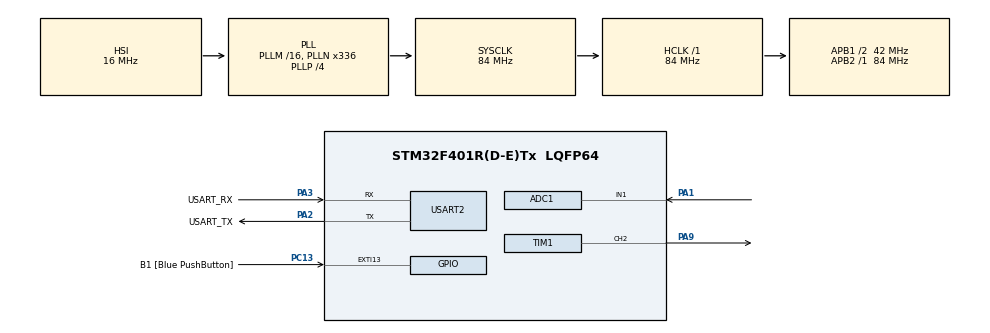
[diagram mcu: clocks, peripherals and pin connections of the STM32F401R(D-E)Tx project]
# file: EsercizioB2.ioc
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ADC1.Channel-0\#ChannelRegularConversion=ADC_CHANNEL_1
ADC1.NbrOfConversionFlag=1
ADC1.Rank-0\#ChannelRegularConversion=1
ADC1.SamplingTime-0\#ChannelRegularConversion=ADC_SAMPLETIME_480CYCLES
ADC1.master=1
Dma.Request0=USART2_TX
Dma.USART2_TX.0.Direction=DMA_MEMORY_TO_PERIPH
Dma.USART2_TX.0.FIFOMode=DMA_FIFOMODE_DISABLE
Dma.USART2_TX.0.Instance=DMA1_Stream6
Dma.USART2_TX.0.MemDataAlignment=DMA_MDATAALIGN_BYTE
Dma.USART2_TX.0.MemInc=DMA_MINC_ENABLE
Dma.USART2_TX.0.Mode=DMA_NORMAL
Dma.USART2_TX.0.PeriphDataAlignment=DMA_PDATAALIGN_BYTE
Dma.USART2_TX.0.PeriphInc=DMA_PINC_DISABLE
Dma.USART2_TX.0.Priority=DMA_PRIORITY_LOW
Mcu.Family=STM32F4
Mcu.Name=STM32F401R(D-E)Tx
Mcu.Package=LQFP64
NVIC.ADC_IRQn=true\:0\:0\:false\:false\:true\:true\:true\:true
NVIC.DMA1_Stream6_IRQn=true\:0\:0\:false\:false\:true\:false\:true\:true
NVIC.PriorityGroup=NVIC_PRIORITYGROUP_4
NVIC.TIM2_IRQn=true\:0\:0\:false\:false\:true\:true\:true\:true
NVIC.TIM3_IRQn=true\:0\:0\:false\:false\:true\:true\:true\:true
NVIC.USART2_IRQn=true\:0\:0\:false\:false\:true\:true\:true\:true
PA1.Signal=ADCx_IN1
PA13.GPIO_Label=TMS
PA13.Mode=Trace_Asynchronous_SW
PA13.Signal=SYS_JTMS-SWDIO
PA14.GPIO_Label=TCK
PA14.Mode=Trace_Asynchronous_SW
PA14.Signal=SYS_JTCK-SWCLK
PA2.GPIO_Label=USART_TX
PA2.GPIO_Mode=GPIO_MODE_AF_PP
PA2.GPIO_PuPd=GPIO_NOPULL
PA2.GPIO_Speed=GPIO_SPEED_FREQ_LOW
PA2.Mode=Asynchronous
PA2.Signal=USART2_TX
PA3.GPIO_Label=USART_RX
PA3.GPIO_Mode=GPIO_MODE_AF_PP
PA3.GPIO_PuPd=GPIO_NOPULL
PA3.GPIO_Speed=GPIO_SPEED_FREQ_LOW
PA3.Mode=Asynchronous
PA3.Signal=USART2_RX
PA9.Signal=S_TIM1_CH2
PB3.GPIO_Label=SWO
PB3.Mode=Trace_Asynchronous_SW
PB3.Signal=SYS_JTDO-SWO
PC13-ANTI_TAMP.GPIO_Label=B1 [Blue PushButton]
PC13-ANTI_TAMP.GPIO_ModeDefaultEXTI=GPIO_MODE_IT_FALLING
PC13-ANTI_TAMP.GPIO_PuPd=GPIO_NOPULL
PC13-ANTI_TAMP.Signal=GPXTI13
PC14-OSC32_IN.Mode=LSE-External-Oscillator
PC14-OSC32_IN.Signal=RCC_OSC32_IN
PC15-OSC32_OUT.Mode=LSE-External-Oscillator
PC15-OSC32_OUT.Signal=RCC_OSC32_OUT
PH0\ -\ OSC_IN.Mode=HSE-External-Clock-Source
PH0\ -\ OSC_IN.Signal=RCC_OSC_IN
PH1\ -\ OSC_OUT.Mode=HSE-External-Clock-Source
PH1\ -\ OSC_OUT.Signal=RCC_OSC_OUT
ProjectManager.HeapSize=0x200
ProjectManager.StackSize=0x400
ProjectManager.TargetToolchain=STM32CubeIDE
RCC.48MHZClocksFreq_Value=48000000
RCC.AHBFreq_Value=84000000
RCC.APB1CLKDivider=RCC_HCLK_DIV2
RCC.APB1Freq_Value=42000000
RCC.APB1TimFreq_Value=84000000
RCC.APB2Freq_Value=84000000
RCC.APB2TimFreq_Value=84000000
RCC.CortexFreq_Value=84000000
RCC.HCLKFreq_Value=84000000
RCC.HSE_VALUE=8000000
RCC.HSI_VALUE=16000000
RCC.PLLN=336
RCC.PLLP=RCC_PLLP_DIV4
RCC.PLLQ=7
RCC.SYSCLKFreq_VALUE=84000000
RCC.SYSCLKSource=RCC_SYSCLKSOURCE_PLLCLK
RCC.VCOOutputFreq_Value=336000000
SH.ADCx_IN1.0=ADC1_IN1,IN1
SH.S_TIM1_CH2.0=TIM1_CH2,PWM Generation2 CH2
TIM1.AutoReloadPreload=TIM_AUTORELOAD_PRELOAD_ENABLE
TIM1.Channel-PWM\ Generation2\ CH2=TIM_CHANNEL_2
TIM1.Period=1909
TIM1.Prescaler=99
TIM1.Pulse-PWM\ Generation2\ CH2=954
TIM2.Period=839999
TIM2.Prescaler=99
TIM3.AutoReloadPreload=TIM_AUTORELOAD_PRELOAD_ENABLE
TIM3.Period=2099
TIM3.Prescaler=9999
USART2.VirtualMode=VM_ASYNC
VP_TIM2_VS_ClockSourceINT.Mode=Internal
VP_TIM3_VS_ClockSourceINT.Mode=Internal
board=NUCLEO-F401RE

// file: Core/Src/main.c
/* USER CODE BEGIN Header */
/**
  ******************************************************************************
  * @file           : main.c
  * @brief          : Main program body
  ******************************************************************************
  * @attention
  *
  * Copyright (c) 2026 STMicroelectronics.
  * All rights reserved.
  *
  * This software is licensed under terms that can be found in the LICENSE file
  * in the root directory of this software component.
  * If no LICENSE file comes with this software, it is provided AS-IS.
  *
  ******************************************************************************
  */
/* USER CODE END Header */
#include "main.h"

/* USER CODE BEGIN Includes */
#include "stdio.h"
#include "string.h"

/* USER CODE END Includes */

/* USER CODE BEGIN PTD */
// Definiamo una struttura "Note"
typedef struct {
    int Period;
    int Duration;
} Note;
/* USER CODE END PTD */

/* USER CODE BEGIN PD */
#define PeriodFA4 2405   // F4 = 349.23 Hz
#define PeriodLA4 1909   // A4 = 440.00 Hz
#define PeriodSI4 1701   // B4 = 493.88 Hz
#define PeriodDO5 1605   // C5 = 523.25 Hz
#define PeriodRE5 1430   // D5 = 587.33 Hz
#define PeriodMI5 1274   // E5 = 659.25 Hz

#define SIZE_SONG 15
/* USER CODE END PD */

ADC_HandleTypeDef hadc1;

TIM_HandleTypeDef htim1;
TIM_HandleTypeDef htim2;
TIM_HandleTypeDef htim3;

UART_HandleTypeDef huart2;
DMA_HandleTypeDef hdma_usart2_tx;

/* USER CODE BEGIN PV */
uint32_t adc_value=0;
float voltage=0.0;
uint8_t tx_buf[32];
int len;

int i=0;
int ticks=0;
uint32_t duration_note=500; // valore a caso

Note Swan_Lake[] = {
		{PeriodMI5, 4},
		{PeriodLA4, 1},
		{PeriodSI4, 1},
		{PeriodDO5, 1},
		{PeriodRE5, 1},
		{PeriodMI5, 3},
		{PeriodDO5, 1},
		{PeriodMI5, 3},
		{PeriodDO5, 1},
		{PeriodMI5, 3},
		{PeriodLA4, 1},
		{PeriodDO5, 1},
		{PeriodLA4, 1},
		{PeriodFA4, 1},
		{PeriodDO5, 1},
		{PeriodLA4, 4}
};

/* USER CODE END PV */

void SystemClock_Config(void);
static void MX_GPIO_Init(void);
static void MX_DMA_Init(void);
static void MX_USART2_UART_Init(void);
static void MX_ADC1_Init(void);
static void MX_TIM2_Init(void);
static void MX_TIM1_Init(void);
static void MX_TIM3_Init(void);
/* USER CODE BEGIN PFP */
void play_note(uint32_t Period, uint32_t Duration);
/* USER CODE END PFP */

/* USER CODE BEGIN 0 */
void HAL_TIM_PeriodElapsedCallback(TIM_HandleTypeDef *htim)
{
	if(htim->Instance == TIM2){ // 1Hz
		len = sprintf((char*)tx_buf, "Potentiometer: %.2f V\r\n", voltage);
		HAL_UART_Transmit_DMA(&huart2, tx_buf, len);

		// Riarmare l'ADC
		HAL_ADC_Start_IT(&hadc1);

	}

	if(htim->Instance == TIM3){ // la frequenza dipende
		ticks+=1;
		if(ticks==duration_note){
			i+=1;
			if(i==sizeof(Swan_Lake)/sizeof(Swan_Lake[0])){ // Fine Canzone
				i=0;

			}
			play_note(Swan_Lake[i].Period, Swan_Lake[i].Duration);
	}
}
}

void HAL_ADC_ConvCpltCallback(ADC_HandleTypeDef *hadc)
{
    // Quando arriva l'EoC aggiorniamo il valore
	adc_value = HAL_ADC_GetValue(hadc);
	voltage = ((float)adc_value * 3.3f) / 4095.0f;

	// Velocità canzone
	float perc=(voltage/2.0) + 0.5;
	int arr=(int)(8400/(perc*4) -1);
	__HAL_TIM_SET_AUTORELOAD(&htim3, arr);
}

void play_note(uint32_t Period, uint32_t Duration){
    duration_note=Duration;
    ticks=0;

	// Aggiorna il Periodo (frequenza) nel registro del Timer
    // L'unica variabile da ri-inizializzare è quella di base (più veloce di HAL_TIM_Base_Init)
    // Usiamo una macro veloce che accede direttamente al registro
    __HAL_TIM_SET_AUTORELOAD(&htim1, Period - 1);

    // Aggiorna il Pulse (Duty Cycle)
	__HAL_TIM_SET_COMPARE(&htim1, TIM_CHANNEL_2, Period / 2);

    // Fai suonare nota
	HAL_TIM_PWM_Start(&htim1, TIM_CHANNEL_2);
}

/* USER CODE END 0 */

int main(void)
{

  /* MCU Configuration--------------------------------------------------------*/

  /* Reset of all peripherals, Initializes the Flash interface and the Systick. */
  HAL_Init();

  /* Configure the system clock */
  SystemClock_Config();

  /* Initialize all configured peripherals */
  MX_GPIO_Init();
  MX_DMA_Init();
  MX_USART2_UART_Init();
  MX_ADC1_Init();
  MX_TIM2_Init();
  MX_TIM1_Init();
  MX_TIM3_Init();
  /* USER CODE BEGIN 2 */
  play_note(Swan_Lake[i].Period, Swan_Lake[i].Duration); // Inizia a suonare la prima nota
  HAL_TIM_Base_Start_IT(&htim2);
  HAL_ADC_Start_IT(&hadc1);
  HAL_TIM_Base_Start_IT(&htim3);

  /* USER CODE END 2 */

  /* Infinite loop */
  while (1)
  {

  }
}

void SystemClock_Config(void)
{
  RCC_OscInitTypeDef RCC_OscInitStruct = {0};
  RCC_ClkInitTypeDef RCC_ClkInitStruct = {0};

  /** Configure the main internal regulator output voltage
  */
  __HAL_RCC_PWR_CLK_ENABLE();
  __HAL_PWR_VOLTAGESCALING_CONFIG(PWR_REGULATOR_VOLTAGE_SCALE2);

  /** Initializes the RCC Oscillators according to the specified parameters
  * in the RCC_OscInitTypeDef structure.
  */
  RCC_OscInitStruct.OscillatorType = RCC_OSCILLATORTYPE_HSI;
  RCC_OscInitStruct.HSIState = RCC_HSI_ON;
  RCC_OscInitStruct.HSICalibrationValue = RCC_HSICALIBRATION_DEFAULT;
  RCC_OscInitStruct.PLL.PLLState = RCC_PLL_ON;
  RCC_OscInitStruct.PLL.PLLSource = RCC_PLLSOURCE_HSI;
  RCC_OscInitStruct.PLL.PLLM = 16;
  RCC_OscInitStruct.PLL.PLLN = 336;
  RCC_OscInitStruct.PLL.PLLP = RCC_PLLP_DIV4;
  RCC_OscInitStruct.PLL.PLLQ = 7;
  if (HAL_RCC_OscConfig(&RCC_OscInitStruct) != HAL_OK)
  {
    Error_Handler();
  }

  /** Initializes the CPU, AHB and APB buses clocks
  */
  RCC_ClkInitStruct.ClockType = RCC_CLOCKTYPE_HCLK|RCC_CLOCKTYPE_SYSCLK
                              |RCC_CLOCKTYPE_PCLK1|RCC_CLOCKTYPE_PCLK2;
  RCC_ClkInitStruct.SYSCLKSource = RCC_SYSCLKSOURCE_PLLCLK;
  RCC_ClkInitStruct.AHBCLKDivider = RCC_SYSCLK_DIV1;
  RCC_ClkInitStruct.APB1CLKDivider = RCC_HCLK_DIV2;
  RCC_ClkInitStruct.APB2CLKDivider = RCC_HCLK_DIV1;

  if (HAL_RCC_ClockConfig(&RCC_ClkInitStruct, FLASH_LATENCY_2) != HAL_OK)
  {
    Error_Handler();
  }
}

static void MX_ADC1_Init(void)
{

  ADC_ChannelConfTypeDef sConfig = {0};

  /** Configure the global features of the ADC (Clock, Resolution, Data Alignment and number of conversion)
  */
  hadc1.Instance = ADC1;
  hadc1.Init.ClockPrescaler = ADC_CLOCK_SYNC_PCLK_DIV4;
  hadc1.Init.Resolution = ADC_RESOLUTION_12B;
  hadc1.Init.ScanConvMode = DISABLE;
  hadc1.Init.ContinuousConvMode = DISABLE;
  hadc1.Init.DiscontinuousConvMode = DISABLE;
  hadc1.Init.ExternalTrigConvEdge = ADC_EXTERNALTRIGCONVEDGE_NONE;
  hadc1.Init.ExternalTrigConv = ADC_SOFTWARE_START;
  hadc1.Init.DataAlign = ADC_DATAALIGN_RIGHT;
  hadc1.Init.NbrOfConversion = 1;
  hadc1.Init.DMAContinuousRequests = DISABLE;
  hadc1.Init.EOCSelection = ADC_EOC_SINGLE_CONV;
  if (HAL_ADC_Init(&hadc1) != HAL_OK)
  {
    Error_Handler();
  }

  /** Configure for the selected ADC regular channel its corresponding rank in the sequencer and its sample time.
  */
  sConfig.Channel = ADC_CHANNEL_1;
  sConfig.Rank = 1;
  sConfig.SamplingTime = ADC_SAMPLETIME_480CYCLES;
  if (HAL_ADC_ConfigChannel(&hadc1, &sConfig) != HAL_OK)
  {
    Error_Handler();
  }

}

static void MX_TIM1_Init(void)
{

  TIM_MasterConfigTypeDef sMasterConfig = {0};
  TIM_OC_InitTypeDef sConfigOC = {0};
  TIM_BreakDeadTimeConfigTypeDef sBreakDeadTimeConfig = {0};

  htim1.Instance = TIM1;
  htim1.Init.Prescaler = 99;
  htim1.Init.CounterMode = TIM_COUNTERMODE_UP;
  htim1.Init.Period = 1909;
  htim1.Init.ClockDivision = TIM_CLOCKDIVISION_DIV1;
  htim1.Init.RepetitionCounter = 0;
  htim1.Init.AutoReloadPreload = TIM_AUTORELOAD_PRELOAD_ENABLE;
  if (HAL_TIM_PWM_Init(&htim1) != HAL_OK)
  {
    Error_Handler();
  }
  sMasterConfig.MasterOutputTrigger = TIM_TRGO_RESET;
  sMasterConfig.MasterSlaveMode = TIM_MASTERSLAVEMODE_DISABLE;
  if (HAL_TIMEx_MasterConfigSynchronization(&htim1, &sMasterConfig) != HAL_OK)
  {
    Error_Handler();
  }
  sConfigOC.OCMode = TIM_OCMODE_PWM1;
  sConfigOC.Pulse = 954;
  sConfigOC.OCPolarity = TIM_OCPOLARITY_HIGH;
  sConfigOC.OCNPolarity = TIM_OCNPOLARITY_HIGH;
  sConfigOC.OCFastMode = TIM_OCFAST_DISABLE;
  sConfigOC.OCIdleState = TIM_OCIDLESTATE_RESET;
  sConfigOC.OCNIdleState = TIM_OCNIDLESTATE_RESET;
  if (HAL_TIM_PWM_ConfigChannel(&htim1, &sConfigOC, TIM_CHANNEL_2) != HAL_OK)
  {
    Error_Handler();
  }
  sBreakDeadTimeConfig.OffStateRunMode = TIM_OSSR_DISABLE;
  sBreakDeadTimeConfig.OffStateIDLEMode = TIM_OSSI_DISABLE;
  sBreakDeadTimeConfig.LockLevel = TIM_LOCKLEVEL_OFF;
  sBreakDeadTimeConfig.DeadTime = 0;
  sBreakDeadTimeConfig.BreakState = TIM_BREAK_DISABLE;
  sBreakDeadTimeConfig.BreakPolarity = TIM_BREAKPOLARITY_HIGH;
  sBreakDeadTimeConfig.AutomaticOutput = TIM_AUTOMATICOUTPUT_DISABLE;
  if (HAL_TIMEx_ConfigBreakDeadTime(&htim1, &sBreakDeadTimeConfig) != HAL_OK)
  {
    Error_Handler();
  }
  HAL_TIM_MspPostInit(&htim1);

}

static void MX_TIM2_Init(void)
{

  TIM_ClockConfigTypeDef sClockSourceConfig = {0};
  TIM_MasterConfigTypeDef sMasterConfig = {0};

  htim2.Instance = TIM2;
  htim2.Init.Prescaler = 99;
  htim2.Init.CounterMode = TIM_COUNTERMODE_UP;
  htim2.Init.Period = 839999;
  htim2.Init.ClockDivision = TIM_CLOCKDIVISION_DIV1;
  htim2.Init.AutoReloadPreload = TIM_AUTORELOAD_PRELOAD_DISABLE;
  if (HAL_TIM_Base_Init(&htim2) != HAL_OK)
  {
    Error_Handler();
  }
  sClockSourceConfig.ClockSource = TIM_CLOCKSOURCE_INTERNAL;
  if (HAL_TIM_ConfigClockSource(&htim2, &sClockSourceConfig) != HAL_OK)
  {
    Error_Handler();
  }
  sMasterConfig.MasterOutputTrigger = TIM_TRGO_RESET;
  sMasterConfig.MasterSlaveMode = TIM_MASTERSLAVEMODE_DISABLE;
  if (HAL_TIMEx_MasterConfigSynchronization(&htim2, &sMasterConfig) != HAL_OK)
  {
    Error_Handler();
  }

}

static void MX_TIM3_Init(void)
{

  TIM_ClockConfigTypeDef sClockSourceConfig = {0};
  TIM_MasterConfigTypeDef sMasterConfig = {0};

  htim3.Instance = TIM3;
  htim3.Init.Prescaler = 9999;
  htim3.Init.CounterMode = TIM_COUNTERMODE_UP;
  htim3.Init.Period = 2099;
  htim3.Init.ClockDivision = TIM_CLOCKDIVISION_DIV1;
  htim3.Init.AutoReloadPreload = TIM_AUTORELOAD_PRELOAD_ENABLE;
  if (HAL_TIM_Base_Init(&htim3) != HAL_OK)
  {
    Error_Handler();
  }
  sClockSourceConfig.ClockSource = TIM_CLOCKSOURCE_INTERNAL;
  if (HAL_TIM_ConfigClockSource(&htim3, &sClockSourceConfig) != HAL_OK)
  {
    Error_Handler();
  }
  sMasterConfig.MasterOutputTrigger = TIM_TRGO_RESET;
  sMasterConfig.MasterSlaveMode = TIM_MASTERSLAVEMODE_DISABLE;
  if (HAL_TIMEx_MasterConfigSynchronization(&htim3, &sMasterConfig) != HAL_OK)
  {
    Error_Handler();
  }

}

static void MX_USART2_UART_Init(void)
{

  huart2.Instance = USART2;
  huart2.Init.BaudRate = 115200;
  huart2.Init.WordLength = UART_WORDLENGTH_8B;
  huart2.Init.StopBits = UART_STOPBITS_1;
  huart2.Init.Parity = UART_PARITY_NONE;
  huart2.Init.Mode = UART_MODE_TX_RX;
  huart2.Init.HwFlowCtl = UART_HWCONTROL_NONE;
  huart2.Init.OverSampling = UART_OVERSAMPLING_16;
  if (HAL_UART_Init(&huart2) != HAL_OK)
  {
    Error_Handler();
  }

}

static void MX_DMA_Init(void)
{

  /* DMA controller clock enable */
  __HAL_RCC_DMA1_CLK_ENABLE();

  /* DMA interrupt init */
  /* DMA1_Stream6_IRQn interrupt configuration */
  HAL_NVIC_SetPriority(DMA1_Stream6_IRQn, 0, 0);
  HAL_NVIC_EnableIRQ(DMA1_Stream6_IRQn);

}

static void MX_GPIO_Init(void)
{
  GPIO_InitTypeDef GPIO_InitStruct = {0};

  /* GPIO Ports Clock Enable */
  __HAL_RCC_GPIOC_CLK_ENABLE();
  __HAL_RCC_GPIOH_CLK_ENABLE();
  __HAL_RCC_GPIOA_CLK_ENABLE();
  __HAL_RCC_GPIOB_CLK_ENABLE();

  /*Configure GPIO pin : B1_Pin */
  GPIO_InitStruct.Pin = B1_Pin;
  GPIO_InitStruct.Mode = GPIO_MODE_IT_FALLING;
  GPIO_InitStruct.Pull = GPIO_NOPULL;
  HAL_GPIO_Init(B1_GPIO_Port, &GPIO_InitStruct);

}

void Error_Handler(void)
{
  __disable_irq();
  while (1)
  {
  }
}
